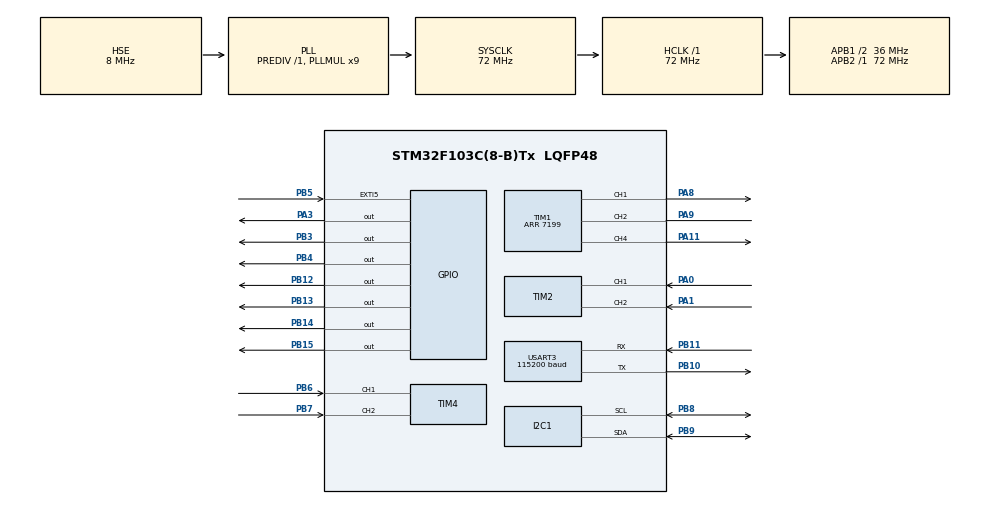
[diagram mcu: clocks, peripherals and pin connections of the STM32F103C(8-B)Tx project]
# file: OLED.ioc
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Dma.Request0=USART3_RX
Dma.Request1=USART3_TX
Dma.USART3_RX.0.Direction=DMA_PERIPH_TO_MEMORY
Dma.USART3_RX.0.Instance=DMA1_Channel3
Dma.USART3_RX.0.MemDataAlignment=DMA_MDATAALIGN_BYTE
Dma.USART3_RX.0.MemInc=DMA_MINC_ENABLE
Dma.USART3_RX.0.Mode=DMA_NORMAL
Dma.USART3_RX.0.PeriphDataAlignment=DMA_PDATAALIGN_BYTE
Dma.USART3_RX.0.PeriphInc=DMA_PINC_DISABLE
Dma.USART3_RX.0.Priority=DMA_PRIORITY_MEDIUM
Dma.USART3_TX.1.Direction=DMA_MEMORY_TO_PERIPH
Dma.USART3_TX.1.Instance=DMA1_Channel2
Dma.USART3_TX.1.MemDataAlignment=DMA_MDATAALIGN_BYTE
Dma.USART3_TX.1.MemInc=DMA_MINC_ENABLE
Dma.USART3_TX.1.Mode=DMA_NORMAL
Dma.USART3_TX.1.PeriphDataAlignment=DMA_PDATAALIGN_BYTE
Dma.USART3_TX.1.PeriphInc=DMA_PINC_DISABLE
Dma.USART3_TX.1.Priority=DMA_PRIORITY_MEDIUM
FREERTOS.Tasks01=defaultTask,24,128,StartDefaultTask,Default,NULL,Dynamic,NULL,NULL;Control,48,256,ControlTask,As weak,NULL,Dynamic,NULL,NULL;Comm,32,512,CommTask,As weak,NULL,Dynamic,NULL,NULL;Display,16,512,DisplayTask,As weak,NULL,Dynamic,NULL,NULL
FREERTOS.configTIMER_TASK_PRIORITY=40
FREERTOS.configTOTAL_HEAP_SIZE=12288
Mcu.Family=STM32F1
Mcu.Name=STM32F103C(8-B)Tx
Mcu.Package=LQFP48
NVIC.DMA1_Channel2_IRQn=true\:5\:0\:false\:false\:true\:true\:false\:true\:true
NVIC.DMA1_Channel3_IRQn=true\:5\:0\:false\:false\:true\:true\:false\:true\:true
NVIC.PriorityGroup=NVIC_PRIORITYGROUP_4
NVIC.USART3_IRQn=true\:5\:0\:false\:false\:true\:true\:true\:true\:true
NVIC.TIM1_CC_IRQn=true\:5\:0\:false\:false\:true\:true\:false\:true\:true
NVIC.TIM1_UP_IRQn=true\:5\:0\:false\:false\:true\:true\:false\:true\:true
NVIC.TIM3_IRQn=true\:5\:0\:false\:false\:true\:true\:false\:true\:true
PA0-WKUP.Signal=S_TIM2_CH1_ETR
PA1.Signal=S_TIM2_CH2
PA11.Signal=S_TIM1_CH4
PA13.Mode=Serial_Wire
PA13.Signal=SYS_JTMS-SWDIO
PA14.Mode=Serial_Wire
PA14.Signal=SYS_JTCK-SWCLK
PA3.GPIO_Speed=GPIO_SPEED_FREQ_HIGH
PA3.Signal=GPIO_Output
PA8.Signal=S_TIM1_CH1
PA9.Signal=S_TIM1_CH2
PB10.Mode=Asynchronous
PB10.Signal=USART3_TX
PB11.Mode=Asynchronous
PB11.Signal=USART3_RX
PB12.Signal=GPIO_Output
PB13.Signal=GPIO_Output
PB14.Signal=GPIO_Output
PB15.Signal=GPIO_Output
PB3.Signal=GPIO_Output
PB4.Signal=GPIO_Output
PB5.GPIO_ModeDefaultEXTI=GPIO_MODE_IT_FALLING
PB5.GPIO_PuPd=GPIO_PULLUP
PB5.Signal=GPXTI5
PB6.Signal=S_TIM4_CH1
PB7.Signal=S_TIM4_CH2
PB8.Mode=I2C
PB8.Signal=I2C1_SCL
PB9.Mode=I2C
PB9.Signal=I2C1_SDA
PC14-OSC32_IN.Mode=LSE-External-Oscillator
PC14-OSC32_IN.Signal=RCC_OSC32_IN
PC15-OSC32_OUT.Mode=LSE-External-Oscillator
PC15-OSC32_OUT.Signal=RCC_OSC32_OUT
PD0-OSC_IN.Mode=HSE-External-Oscillator
PD0-OSC_IN.Signal=RCC_OSC_IN
PD1-OSC_OUT.Mode=HSE-External-Oscillator
PD1-OSC_OUT.Signal=RCC_OSC_OUT
ProjectManager.HeapSize=0x200
ProjectManager.StackSize=0x400
ProjectManager.TargetToolchain=MDK-ARM V5.32
RCC.AHBFreq_Value=72000000
RCC.APB1CLKDivider=RCC_HCLK_DIV2
RCC.APB1Freq_Value=36000000
RCC.APB1TimFreq_Value=72000000
RCC.APB2Freq_Value=72000000
RCC.APB2TimFreq_Value=72000000
RCC.HCLKFreq_Value=72000000
RCC.PLLMUL=RCC_PLL_MUL9
RCC.PLLSourceVirtual=RCC_PLLSOURCE_HSE
RCC.SYSCLKFreq_VALUE=72000000
RCC.SYSCLKSource=RCC_SYSCLKSOURCE_PLLCLK
RCC.USBFreq_Value=72000000
SH.S_TIM1_CH1.0=TIM1_CH1,PWM Generation1 CH1
SH.S_TIM1_CH2.0=TIM1_CH2,Input Capture direct mode
SH.S_TIM1_CH4.0=TIM1_CH4,PWM Generation4 CH4
SH.S_TIM2_CH1_ETR.0=TIM2_CH1,Encoder_Interface
SH.S_TIM2_CH2.0=TIM2_CH2,Encoder_Interface
SH.S_TIM4_CH1.0=TIM4_CH1,Encoder_Interface
SH.S_TIM4_CH2.0=TIM4_CH2,Encoder_Interface
TIM1.Channel-Input\ Capture\ direct\ mode=TIM_CHANNEL_2
TIM1.Channel-PWM\ Generation1\ CH1=TIM_CHANNEL_1
TIM1.Channel-PWM\ Generation4\ CH4=TIM_CHANNEL_4
TIM1.Period=7199
TIM1.Pulse-PWM\ Generation1\ CH1=7200
TIM2.EncoderMode=TIM_ENCODERMODE_TI12
TIM3.Prescaler=719
TIM3.Period=999
TIM4.EncoderMode=TIM_ENCODERMODE_TI12
USART3.BaudRate=115200
USART3.VirtualMode=VM_ASYNC
VP_FREERTOS_VS_CMSIS_V2.Mode=CMSIS_V2
VP_TIM3_VS_ClockSourceINT.Mode=Internal
board=custom

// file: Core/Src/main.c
/* USER CODE BEGIN Header */
/**
  ******************************************************************************
  * @file           : main.c
  * @brief          : Main program body
  ******************************************************************************
  * @attention
  *
  * Copyright (c) 2024 STMicroelectronics.
  * All rights reserved.
  *
  * This software is licensed under terms that can be found in the LICENSE file
  * in the root directory of this software component.
  * If no LICENSE file comes with this software, it is provided AS-IS.
  *
  ******************************************************************************
  */
/* USER CODE END Header */
#include "main.h"
#include "cmsis_os.h"
#include "dma.h"
#include "i2c.h"
#include "tim.h"
#include "usart.h"
#include "gpio.h"

/* USER CODE BEGIN Includes */
#include "oled.h"
#include "IIC.h"
#include "motor.h"
#include "sensor.h"
#include "vofa_debug.h"
/* USER CODE END Includes */

/* USER CODE BEGIN PV */
uint8_t display_buf[20];
/* USER CODE END PV */

void SystemClock_Config(void);
void MX_FREERTOS_Init(void);

int main(void)
{

  /* MCU Configuration--------------------------------------------------------*/

  /* Reset of all peripherals, Initializes the Flash interface and the Systick. */
  HAL_Init();

  /* Configure the system clock */
  SystemClock_Config();

  /* Initialize all configured peripherals */
  MX_GPIO_Init();
  MX_DMA_Init();
  MX_I2C1_Init();
  MX_TIM3_Init();
  MX_TIM1_Init();
  MX_TIM2_Init();
  MX_TIM4_Init();
  MX_USART3_UART_Init();
  /* USER CODE BEGIN 2 */
	OLED_Init();
	OLED_Clear();
	OLED_ShowString(0,0,"Init OK",16);
	HAL_TIM_PWM_Start(&htim1,TIM_CHANNEL_1);
	HAL_TIM_PWM_Start(&htim1,TIM_CHANNEL_4);
	Load(0,0);
	Sensor_Init();
	OLED_ShowString(0,2,"Sensor OK",16);

	/* VOFA+ 调试模块初始化 */
	Vofa_Init();  /* 只初始化 DMA 发送；蓝牙接收由 CommTask 启动 DMA 空闲接收 */
  /* USER CODE END 2 */

  /* Init scheduler */
  osKernelInitialize();

  /* Call init function for freertos objects (in freertos.c) */
  MX_FREERTOS_Init();

  /* Start scheduler */
  osKernelStart();

  /* We should never get here as control is now taken by the scheduler */
  /* Infinite loop */
  while (1)
  {

  }
}

void SystemClock_Config(void)
{
  RCC_OscInitTypeDef RCC_OscInitStruct = {0};
  RCC_ClkInitTypeDef RCC_ClkInitStruct = {0};

  /** Initializes the RCC Oscillators according to the specified parameters
  * in the RCC_OscInitTypeDef structure.
  */
  RCC_OscInitStruct.OscillatorType = RCC_OSCILLATORTYPE_HSE;
  RCC_OscInitStruct.HSEState = RCC_HSE_ON;
  RCC_OscInitStruct.HSEPredivValue = RCC_HSE_PREDIV_DIV1;
  RCC_OscInitStruct.HSIState = RCC_HSI_ON;
  RCC_OscInitStruct.PLL.PLLState = RCC_PLL_ON;
  RCC_OscInitStruct.PLL.PLLSource = RCC_PLLSOURCE_HSE;
  RCC_OscInitStruct.PLL.PLLMUL = RCC_PLL_MUL9;
  if (HAL_RCC_OscConfig(&RCC_OscInitStruct) != HAL_OK)
  {
    Error_Handler();
  }

  /** Initializes the CPU, AHB and APB buses clocks
  */
  RCC_ClkInitStruct.ClockType = RCC_CLOCKTYPE_HCLK|RCC_CLOCKTYPE_SYSCLK
                              |RCC_CLOCKTYPE_PCLK1|RCC_CLOCKTYPE_PCLK2;
  RCC_ClkInitStruct.SYSCLKSource = RCC_SYSCLKSOURCE_PLLCLK;
  RCC_ClkInitStruct.AHBCLKDivider = RCC_SYSCLK_DIV1;
  RCC_ClkInitStruct.APB1CLKDivider = RCC_HCLK_DIV2;
  RCC_ClkInitStruct.APB2CLKDivider = RCC_HCLK_DIV1;

  if (HAL_RCC_ClockConfig(&RCC_ClkInitStruct, FLASH_LATENCY_2) != HAL_OK)
  {
    Error_Handler();
  }
}

void Error_Handler(void)
{
  __disable_irq();
  while (1)
  {
  }
}

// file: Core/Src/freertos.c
/* USER CODE BEGIN Header */
/**
  ******************************************************************************
  * @file    freertos.c
  * @brief   FreeRTOS 任务实现
  * @details 实现四个任务：
  *          - ControlTask：控制环任务（10ms 硬件节拍，TIM3 ISR 驱动）
  *          - CommTask：通信任务（蓝牙 DMA 空闲接收 + 任务化解析）
  *          - DisplayTask：显示任务（OLED 刷新，200ms 周期）
  *          - defaultTask：默认任务（空闲，挂起）
  *
  *          任务优先级（从高到低）：
  *          - ControlTask：Realtime（48）
  *          - CommTask：AboveNormal（32）
  *          - DisplayTask：BelowNormal（8）
  *          - defaultTask：Normal（24）
  *
  *          控制周期：
  *          - 10ms 硬件定时器（TIM3 更新中断 → osThreadFlagsSet → 唤醒 ControlTask）
  *
  * @author  LJ R
  * @date    2026-07
  ******************************************************************************
  */
/* USER CODE END Header */

#include "FreeRTOS.h"
#include "task.h"
#include "main.h"
#include "cmsis_os.h"

/* USER CODE BEGIN Includes */
#include "sensor.h"
#include "control.h"
#include "remote.h"
#include "oled.h"
#include "sr04.h"
#include "usart.h"
#include "tim.h"
#include "vofa_debug.h"
#include <stdio.h>
/* USER CODE END Includes */

/* USER CODE BEGIN Variables */

/*============================================================================*/
/*                              私有变量                                       */
/*============================================================================*/

/* 控制周期标志位（bit0）*/
#define CONTROL_FLAG 0x01U

/* OLED 显示缓冲 */
static uint8_t s_disp_buf[24];

/* 超声波测距任务句柄与属性（CubeMX 未配置，手动创建，放 USER CODE 避免被重新生成覆盖）*/
osThreadId_t SR04Handle;
const osThreadAttr_t SR04_attributes = {
  .name = "SR04",
  .stack_size = 128 * 4,
  .priority = (osPriority_t) osPriorityBelowNormal,
};

/* USER CODE END Variables */
/* Definitions for defaultTask */
osThreadId_t defaultTaskHandle;
const osThreadAttr_t defaultTask_attributes = {
  .name = "defaultTask",
  .stack_size = 128 * 4,
  .priority = (osPriority_t) osPriorityNormal,
};
/* Definitions for Control */
osThreadId_t ControlHandle;
const osThreadAttr_t Control_attributes = {
  .name = "Control",
  .stack_size = 256 * 4,
  .priority = (osPriority_t) osPriorityRealtime,
};
/* Definitions for Comm */
osThreadId_t CommHandle;
const osThreadAttr_t Comm_attributes = {
  .name = "Comm",
  .stack_size = 512 * 4,
  .priority = (osPriority_t) osPriorityAboveNormal,
};
/* Definitions for Display */
osThreadId_t DisplayHandle;
const osThreadAttr_t Display_attributes = {
  .name = "Display",
  .stack_size = 512 * 4,
  .priority = (osPriority_t) osPriorityBelowNormal,
};

/* USER CODE BEGIN FunctionPrototypes */
void SR04_Task(void *argument);
/* USER CODE END FunctionPrototypes */

void StartDefaultTask(void *argument);
void ControlTask(void *argument);
void CommTask(void *argument);
void DisplayTask(void *argument);

void MX_FREERTOS_Init(void); /* (MISRA C 2004 rule 8.1) */

void MX_FREERTOS_Init(void) {

  /* Create the thread(s) */
  /* creation of defaultTask */
  defaultTaskHandle = osThreadNew(StartDefaultTask, NULL, &defaultTask_attributes);

  /* creation of Control */
  ControlHandle = osThreadNew(ControlTask, NULL, &Control_attributes);

  /* creation of Comm */
  CommHandle = osThreadNew(CommTask, NULL, &Comm_attributes);

  /* creation of Display */
  DisplayHandle = osThreadNew(DisplayTask, NULL, &Display_attributes);

  /* USER CODE BEGIN RTOS_THREADS */
#if SR04_ENABLE
  /* 超声波测距任务：约 60ms 周期触发 HC-SR04 并更新障碍距离 */
  SR04Handle = osThreadNew(SR04_Task, NULL, &SR04_attributes);
#endif /* SR04_ENABLE */

  /* USER CODE END RTOS_THREADS */

}

/* USER CODE BEGIN Header_StartDefaultTask */
/**
  * @brief  默认任务（空闲任务）
  * @param  argument: Not used
  * @retval None
  */
/* USER CODE END Header_StartDefaultTask */
void StartDefaultTask(void *argument)
{
  /* USER CODE BEGIN StartDefaultTask */
  /* defaultTask 无业务逻辑，永久挂起释放 CPU */
  osDelay(osWaitForever);
  /* USER CODE END StartDefaultTask */
}

/* USER CODE BEGIN Header_ControlTask */
/**
* @brief  控制环任务（Realtime 优先级）
* @details 执行流程：
*          1. 启动 10ms 硬件定时器（TIM3 更新中断）
*          2. 阻塞等待 TIM3 中断发来的线程标志
*          3. 执行传感器更新和 PID 控制
*
*          控制周期：10ms（TIM3 硬件定时器 ISR → osThreadFlagsSet，CMSIS-RTOS2 API）
*          优先级：Realtime（48），最高优先级，ISR 置位后立即抢占执行
*
* @note   为什么用硬件定时器而不是软件定时器：软件定时器回调要经过 Timer
*          服务任务（优先级 40）转发，再唤醒本任务，存在调度抖动；TIM3 更新
*          中断直接 osThreadFlagsSet，ISR 给出精确 10ms 节拍。
*          TIM3 原用于超声波回波计时，现改作控制节拍；HC-SR04 测距改用 TIM1_CH2（见 sr04.c）。
*
* @param[in] argument 任务参数（未使用）
*/
/* USER CODE END Header_ControlTask */
__weak void ControlTask(void *argument)
{
  /* USER CODE BEGIN ControlTask */
  /* 1. 启动 10ms 硬件定时器（TIM3），更新中断中 osThreadFlagsSet 唤醒本任务
   *    Sensor_Init() 已在 main.c 调度器启动前完成 */
  HAL_TIM_Base_Start_IT(&htim3);

  /* 2. 控制环主循环 */
  for(;;)
  {
    /* 阻塞等待 TIM3 中断发来的标志（不占用 CPU） */
    osThreadFlagsWait(CONTROL_FLAG, osFlagsWaitAny, osWaitForever);

    /* 读取传感器 & 执行 PID 控制 */
    Sensor_Update();
    Control_Run();

    /* VOFA+ 数据发送（10 个通道，参照 VOFA 项目）*/
    /* 通道分配：
     *   ch0: 横滚角（度）
     *   ch1: X 轴角速度（原始值）
     *   ch2: Y 轴角速度（原始值）
     *   ch3: 左编码器速度
     *   ch4: 右编码器速度
     *   ch5: 直立环输出（PWM）
     *   ch6: 速度环输出（目标倾角偏移）
     *   ch7: 左电机 PWM
     *   ch8: 右电机 PWM
     *   ch9: Roll 移动平均差（度）
     */
#if VOFA_ENABLE
    Vofa_FillBuffer(
        Sensor_GetRoll(),                     /* ch0: 横滚角 */
        (float)Sensor_GetGyroX(),             /* ch1: X 轴角速度 */
        (float)Sensor_GetGyroY(),             /* ch2: Y 轴角速度 */
        (float)Sensor_GetEncoderLeft(),       /* ch3: 左编码器 */
        (float)Sensor_GetEncoderRight(),      /* ch4: 右编码器 */
        (float)Control_GetVerticalOut(),      /* ch5: 直立环输出 */
        (float)Control_GetVelocityOut(),      /* ch6: 速度环输出 */
        (float)Control_GetMoto1(),            /* ch7: 左电机 PWM */
        (float)Control_GetMoto2(),            /* ch8: 右电机 PWM */
        Sensor_GetRollDiff()                  /* ch9: Roll 移动平均差 */
    );
    Vofa_SendFrame();  /* 通过 USART3 发送（DMA） */
#endif
  }
  /* USER CODE END ControlTask */
}

/* USER CODE BEGIN Header_CommTask */
/**
* @brief  通信任务（AboveNormal 优先级）
* @details 初始化蓝牙 DMA 空闲接收，
*          在任务上下文轮询流缓冲并解析指令。
*
* @param[in] argument 任务参数（未使用）
*/
/* USER CODE END Header_CommTask */
__weak void CommTask(void *argument)
{
  /* USER CODE BEGIN CommTask */
  /* 1. 初始化蓝牙：创建流缓冲 + 启动 USART3 DMA 空闲接收 */
  Remote_Init();

  /* 2. 循环处理蓝牙数据（阻塞等待流缓冲，解析在任务上下文完成）*/
  for(;;)
  {
    Remote_TaskHandler();
  }
  /* USER CODE END CommTask */
}

/* USER CODE BEGIN Header_DisplayTask */
/**
* @brief  显示任务（BelowNormal 优先级）
* @details 每 200ms 刷新一次 OLED：
*          - 第 0 行：左编码器速度
*          - 第 2 行：右编码器速度
*          - 第 4 行：横滚角
*          - 第 6 行：左电机 PWM
*
*          刷新周期：200ms
*          优先级：BelowNormal（8），最低优先级，避免抢占控制任务
*
* @param[in] argument 任务参数（未使用）
*/
/* USER CODE END Header_DisplayTask */
__weak void DisplayTask(void *argument)
{
  /* USER CODE BEGIN DisplayTask */
  for(;;)
  {
    /* 显示编码器速度 */
    sprintf((char *)s_disp_buf, "L:%4d  ", Sensor_GetEncoderLeft());
    OLED_ShowString(0, 0, s_disp_buf, 16);
    sprintf((char *)s_disp_buf, "R:%4d  ", Sensor_GetEncoderRight());
    OLED_ShowString(0, 2, s_disp_buf, 16);

    /* 显示姿态角 */
    sprintf((char *)s_disp_buf, "Roll:%.1f  ", Sensor_GetRoll());
    OLED_ShowString(0, 4, s_disp_buf, 16);

    /* 显示控制输出 */
    sprintf((char *)s_disp_buf, "M1:%4d  ", Control_GetMoto1());
    OLED_ShowString(0, 6, s_disp_buf, 12);

    /* 200ms 刷新一次，避免频繁刷屏 */
    osDelay(200);
  }
  /* USER CODE END DisplayTask */
}

/* USER CODE BEGIN Application */

#if SR04_ENABLE
/**
 * @brief  超声波避障任务
 * @details 循环：触发 HC-SR04 → 等待回波（含超时保护）→ 把距离交给控制层
 *          周期约 60ms（满足 HC-SR04 两次触发间隔 >= 60ms 的要求）。
 *          模块职责划分：本任务只做"测距编排"；测量逻辑在 sr04.c，
 *          避障决策在 control.c（Control_SetObstacle）。
 * @note   由 sr04.h 的 SR04_ENABLE 控制：=0 时不创建本任务（当前禁用）。
 */
void SR04_Task(void *argument)
{
  SR04_Init();   /* 启动 TIM1_CH2 输入捕获 */

  for (;;)
  {
    SR04_Trigger();                        /* 10us 触发脉冲（PA3）*/

    osDelay(60);                           /* 等待回波完成（最长约 38ms）*/

    if (SR04_IsMeasuring())                /* 60ms 后仍在测量 = 无回波 */
    {
      SR04_Abort();
    }

    Control_SetObstacle(SR04_GetDistanceCm());   /* 交给控制层做避障 */
  }
}
#endif /* SR04_ENABLE */

/**
 * @brief  TIM3 更新中断回调（10ms 控制节拍）
 * @note   ISR 上下文：只做标志通知（osThreadFlagsSet 底层走
 *          xTaskNotifyFromISR），不执行任何业务逻辑。
 * @param[in] htim 定时器句柄
 */
void HAL_TIM_PeriodElapsedCallback(TIM_HandleTypeDef *htim)
{
  if (htim->Instance == TIM3)
  {
    osThreadFlagsSet(ControlHandle, CONTROL_FLAG);
  }
  else if (htim->Instance == TIM1)
  {
    /* 超声波回波测量期间的 TIM1 溢出计数（仅测量时使能更新中断，见 sr04.c）*/
    SR04_OnTimerUpdate();
  }
}

/**
 * @brief  栈溢出钩子函数
 * @details 当 FreeRTOS 检测到任务栈溢出时调用（死循环便于调试）
 *
 * @param[in] xTask      任务句柄
 * @param[in] pcTaskName 任务名称
 */
void vApplicationStackOverflowHook(TaskHandle_t xTask, char *pcTaskName)
{
  (void)xTask;
  (void)pcTaskName;
  for(;;);
}
/* USER CODE END Application */
